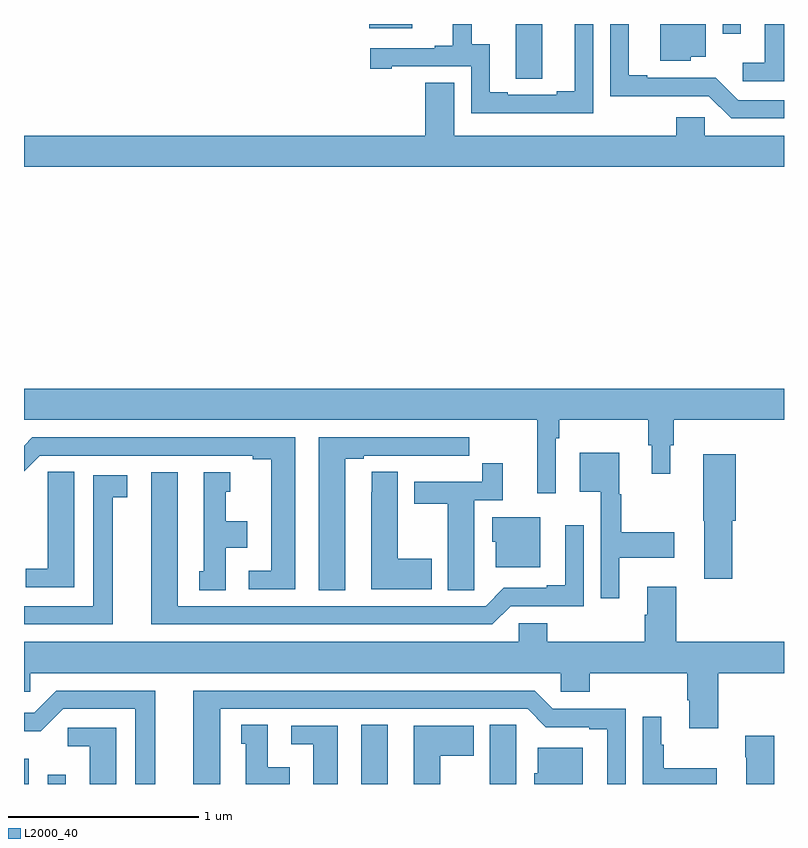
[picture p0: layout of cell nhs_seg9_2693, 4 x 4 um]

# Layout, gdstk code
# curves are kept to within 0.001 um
import gdstk
lib = gdstk.Library(unit=1e-6, precision=1e-09)
def R(c, l, rs):  # rectangles x0, y0, x1, y1
    for r in rs: c.add(gdstk.rectangle(r[:2], r[2:], *l))
def P(c, l, *ps):  # polygons
    for p in ps: c.add(gdstk.Polygon(p, *l))
L2000_40 = (2000, 40)

nhs_seg9_2693 = lib.new_cell('nhs_seg9_2693')
R(nhs_seg9_2693, L2000_40, [(265,1198.5,265.024,1198.633), (265.125,1198.5,265.221,1198.549), (266.774,1198.5,266.914,1198.811), (268.677,1202.448,268.773,1202.5), (266.816,1202.477,267.043,1202.5)])
P(nhs_seg9_2693, L2000_40, [(268.509,1202.327),(268.588,1202.327),(268.588,1202.5),(268.349,1202.5),(268.349,1202.306),(268.509,1202.306)],
  [(267.996,1202.5),(267.899,1202.5),(267.899,1202.147),(267.803,1202.147),(267.803,1202.127),(267.547,1202.127),(267.547,1202.142),(267.451,1202.142),(267.451,1202.393),(267.357,1202.393),(267.357,1202.5),(267.257,1202.5),(267.257,1202.386),(267.161,1202.386),(267.161,1202.373),(266.823,1202.373),(266.823,1202.265),(266.935,1202.265),(266.935,1202.277),(267.354,1202.277),(267.354,1202.031),(267.996,1202.031)],
  [(269,1202.1),(268.758,1202.1),(268.641,1202.217),(268.279,1202.217),(268.279,1202.23),(268.183,1202.23),(268.183,1202.5),(268.086,1202.5),(268.086,1202.12),(268.605,1202.121),(268.722,1202.004),(269,1202.004)],
  [(269,1202.5),(268.898,1202.5),(268.898,1202.296),(268.782,1202.296),(268.782,1202.199),(269,1202.199)],
  [(267.727,1202.5),(267.587,1202.5),(267.587,1202.32),(267.588,1202.32),(267.588,1202.212),(267.727,1202.212)],
  [(269,1201.912),(268.584,1201.912),(268.584,1202.01),(268.433,1202.01),(268.433,1201.912),(267.265,1201.912),(267.265,1202.192),(267.113,1202.192),(267.113,1201.912),(265,1201.912),(265,1201.748),(269,1201.748)],
  [(267.798,1200.32),(267.818,1200.32),(267.818,1200.416),(268.285,1200.416),(268.285,1200.282),(268.304,1200.282),(268.304,1200.132),(268.402,1200.132),(268.402,1200.282),(268.421,1200.282),(268.421,1200.416),(269,1200.416),(269,1200.58),(265,1200.58),(265,1200.416),(267.701,1200.416),(267.701,1200.03),(267.798,1200.03)],
  [(266.428,1200.324),(265.043,1200.324),(265,1200.281),(265,1200.145),(265.083,1200.228),(266.204,1200.228),(266.204,1200.208),(266.3,1200.208),(266.3,1199.622),(266.184,1199.622),(266.184,1199.526),(266.428,1199.526)],
  [(266.692,1200.213),(266.788,1200.213),(266.788,1200.228),(267.064,1200.228),(267.064,1200.227),(267.23,1200.227),(267.23,1200.228),(267.343,1200.228),(267.343,1200.324),(266.552,1200.324),(266.552,1199.521),(266.692,1199.521)],
  [(268.132,1199.69),(268.423,1199.69),(268.423,1199.825),(268.144,1199.825),(268.144,1200.024),(268.132,1200.024),(268.132,1200.244),(267.926,1200.244),(267.926,1200.038),(268.035,1200.038),(268.035,1199.478),(268.132,1199.478)],
  [(268.727,1199.886),(268.745,1199.886),(268.745,1200.235),(268.574,1200.235),(268.574,1199.886),(268.58,1199.886),(268.58,1199.58),(268.727,1199.58)],
  [(267.369,1199.632),(267.37,1199.632),(267.37,1199.994),(267.521,1199.994),(267.521,1200.187),(267.412,1200.187),(267.412,1200.09),(267.053,1200.09),(267.053,1199.974),(267.23,1199.974),(267.23,1199.521),(267.369,1199.521)],
  [(267.145,1199.685),(266.968,1199.685),(266.968,1200.143),(266.829,1200.143),(266.829,1200.035),(266.828,1200.035),(266.828,1199.525),(267.145,1199.525)],
  [(265.264,1200.143),(265.125,1200.143),(265.125,1200.035),(265.124,1200.035),(265.124,1199.632),(265.008,1199.632),(265.008,1199.535),(265.264,1199.535)],
  [(267.561,1199.436),(267.945,1199.436),(267.945,1199.863),(267.848,1199.863),(267.848,1199.545),(267.752,1199.545),(267.752,1199.532),(267.525,1199.532),(267.429,1199.436),(265.81,1199.436),(265.81,1200.142),(265.67,1200.142),(265.67,1199.34),(267.465,1199.34)],
  [(266.062,1199.744),(266.176,1199.744),(266.176,1199.884),(266.062,1199.884),(266.062,1200.039),(266.086,1200.039),(266.086,1200.142),(265.946,1200.142),(265.946,1199.619),(265.922,1199.619),(265.922,1199.521),(266.062,1199.521)],
  [(265.468,1200.01),(265.543,1200.01),(265.543,1200.126),(265.364,1200.126),(265.364,1199.436),(265,1199.436),(265,1199.34),(265.468,1199.34)],
  [(267.718,1199.905),(267.464,1199.905),(267.464,1199.775),(267.482,1199.775),(267.482,1199.642),(267.718,1199.642)],
  [(268.655,1199.084),(269,1199.084),(269,1199.248),(268.433,1199.248),(268.433,1199.539),(268.28,1199.539),(268.28,1199.39),(268.268,1199.39),(268.268,1199.248),(267.755,1199.248),(267.755,1199.346),(267.603,1199.346),(267.603,1199.248),(265,1199.248),(265,1198.986),(265.032,1198.986),(265.032,1199.084),(267.825,1199.084),(267.825,1198.986),(267.977,1198.986),(267.977,1199.084),(268.49,1199.084),(268.49,1198.942),(268.502,1198.942),(268.502,1198.794),(268.655,1198.794)],
  [(266.032,1198.896),(267.651,1198.896),(267.747,1198.8),(267.974,1198.8),(267.974,1198.788),(268.07,1198.788),(268.07,1198.5),(268.167,1198.5),(268.167,1198.896),(267.783,1198.896),(267.687,1198.992),(265.892,1198.992),(265.892,1198.5),(266.032,1198.5)],
  [(265.69,1198.992),(265.17,1198.992),(265.053,1198.875),(265,1198.875),(265,1198.778),(265.088,1198.778),(265.206,1198.896),(265.586,1198.896),(265.586,1198.5),(265.69,1198.5)],
  [(268.645,1198.582),(268.366,1198.582),(268.366,1198.706),(268.354,1198.706),(268.354,1198.855),(268.257,1198.855),(268.257,1198.5),(268.645,1198.5)],
  [(266.398,1198.588),(266.284,1198.588),(266.284,1198.811),(266.144,1198.811),(266.144,1198.713),(266.168,1198.713),(266.168,1198.5),(266.398,1198.5)],
  [(267.592,1198.7),(267.591,1198.7),(267.591,1198.811),(267.452,1198.811),(267.452,1198.5),(267.592,1198.5)],
  [(267.19,1198.648),(267.367,1198.648),(267.367,1198.807),(267.05,1198.807),(267.05,1198.5),(267.19,1198.5)],
  [(266.65,1198.806),(266.406,1198.806),(266.406,1198.71),(266.522,1198.71),(266.522,1198.5),(266.65,1198.5)],
  [(265.486,1198.797),(265.23,1198.797),(265.23,1198.7),(265.346,1198.7),(265.346,1198.5),(265.486,1198.5)],
  [(268.949,1198.753),(268.795,1198.753),(268.795,1198.64),(268.802,1198.64),(268.802,1198.5),(268.949,1198.5)],
  [(267.94,1198.69),(267.704,1198.69),(267.704,1198.557),(267.686,1198.557),(267.686,1198.5),(267.94,1198.5)])

lib.write_gds('nhs_seg9_2693.gds')
